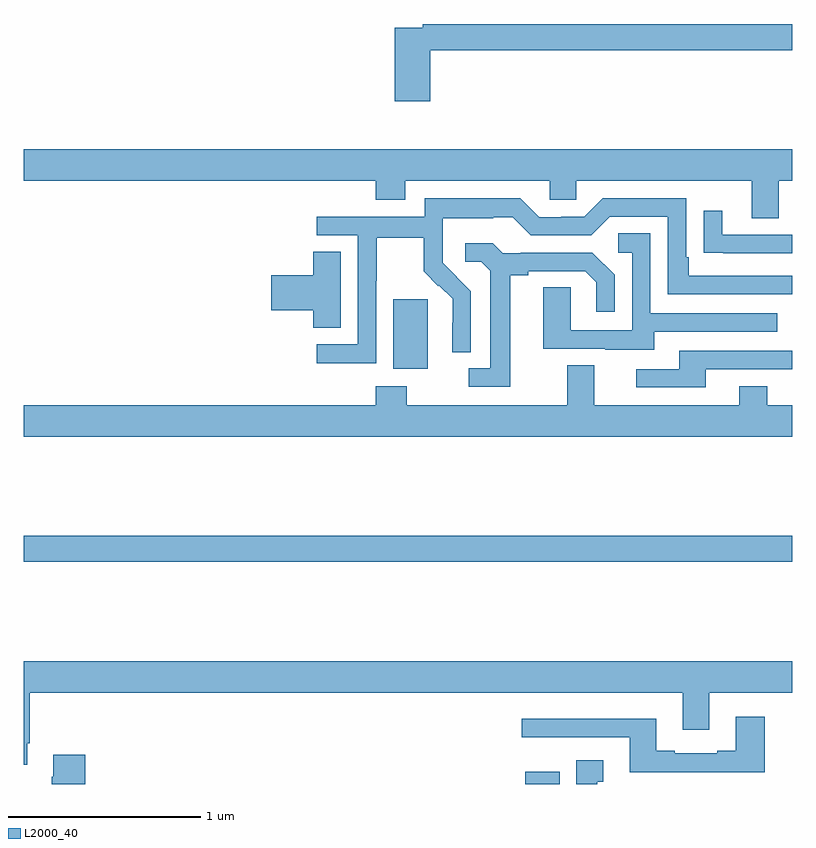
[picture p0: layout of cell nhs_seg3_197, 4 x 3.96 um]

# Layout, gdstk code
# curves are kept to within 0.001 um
import gdstk
lib = gdstk.Library(unit=1e-6, precision=1e-09)
def R(c, l, rs):  # rectangles x0, y0, x1, y1
    for r in rs: c.add(gdstk.rectangle(r[:2], r[2:], *l))
def P(c, l, *ps):  # polygons
    for p in ps: c.add(gdstk.Polygon(p, *l))
L2000_40 = (2000, 40)

nhs_seg3_197 = lib.new_cell('nhs_seg3_197')
R(nhs_seg3_197, L2000_40, [(121.61,740.4,121.789,740.464), (119,741.556,123,741.692), (120.923,742.562,121.102,742.923)])
P(nhs_seg3_197, L2000_40, [(121.115,744.22),(123,744.22),(123,744.356),(121.078,744.356),(121.078,744.336),(120.932,744.336),(120.932,743.955),(121.115,743.955)],
  [(122.929,743.54),(123,743.54),(123,743.704),(119,743.704),(119,743.54),(120.833,743.54),(120.833,743.441),(120.985,743.441),(120.985,743.54),(121.737,743.54),(121.737,743.442),(121.875,743.442),(121.875,743.54),(122.789,743.54),(122.789,743.346),(122.929,743.346)],
  [(120.834,743.02),(120.837,743.02),(120.837,743.244),(121.081,743.244),(121.081,743.069),(121.158,742.992),(121.161,742.995),(121.232,742.925),(121.232,742.802),(121.23,742.802),(121.23,742.648),(121.326,742.648),(121.326,742.966),(121.18,743.114),(121.18,743.211),(121.182,743.211),(121.182,743.345),(121.445,743.345),(121.445,743.349),(121.545,743.349),(121.638,743.256),(121.953,743.256),(122.049,743.352),(122.352,743.352),(122.352,742.95),(123,742.95),(123,743.046),(122.461,743.046),(122.461,743.143),(122.448,743.143),(122.448,743.448),(122.013,743.448),(121.917,743.352),(121.799,743.352),(121.799,743.349),(121.683,743.349),(121.583,743.449),(121.086,743.449),(121.086,743.352),(120.525,743.352),(120.525,743.256),(120.738,743.256),(120.738,742.689),(120.525,742.689),(120.525,742.591),(120.834,742.591)],
  [(123,743.259),(122.635,743.259),(122.635,743.383),(122.539,743.383),(122.539,743.164),(122.641,743.164),(122.641,743.163),(123,743.163)],
  [(122.281,742.755),(122.921,742.755),(122.921,742.851),(122.262,742.851),(122.262,743.267),(122.094,743.267),(122.094,743.166),(122.166,743.166),(122.166,742.761),(121.848,742.761),(121.848,742.985),(121.703,742.985),(121.703,742.665),(122.027,742.665),(122.027,742.661),(122.281,742.661)],
  [(121.531,743.048),(121.627,743.048),(121.627,743.07),(121.922,743.07),(121.979,743.013),(121.979,742.857),(122.076,742.857),(122.076,743.05),(121.96,743.166),(121.588,743.166),(121.588,743.163),(121.494,743.163),(121.442,743.215),(121.299,743.215),(121.299,743.118),(121.38,743.118),(121.427,743.071),(121.427,742.563),(121.317,742.563),(121.317,742.467),(121.531,742.467)],
  [(120.649,743.171),(120.506,743.171),(120.506,743.048),(120.288,743.048),(120.288,742.865),(120.506,742.865),(120.506,742.774),(120.649,742.774)],
  [(122.551,742.56),(123,742.56),(123,742.656),(122.411,742.656),(122.411,742.56),(122.187,742.56),(122.187,742.464),(122.551,742.464)],
  [(123,742.372),(122.871,742.372),(122.871,742.471),(122.723,742.471),(122.723,742.372),(121.969,742.372),(121.969,742.58),(121.829,742.58),(121.829,742.372),(120.993,742.372),(120.993,742.471),(120.833,742.471),(120.833,742.372),(119,742.372),(119,742.208),(123,742.208)],
  [(119.017,740.611),(119.03,740.611),(119.03,740.876),(122.429,740.876),(122.429,740.682),(122.569,740.682),(122.569,740.876),(123,740.876),(123,741.04),(119,741.04),(119,740.499),(119.017,740.499)],
  [(122.858,740.749),(122.705,740.749),(122.705,740.572),(122.609,740.572),(122.609,740.559),(122.389,740.559),(122.389,740.572),(122.293,740.572),(122.293,740.74),(121.593,740.74),(121.593,740.643),(122.153,740.643),(122.153,740.462),(122.858,740.462)],
  [(119.321,740.551),(119.153,740.551),(119.153,740.438),(119.146,740.438),(119.146,740.4),(119.321,740.4)],
  [(121.984,740.411),(122.017,740.411),(122.017,740.524),(121.877,740.524),(121.877,740.4),(121.984,740.4)])

lib.write_gds('nhs_seg3_197.gds')
